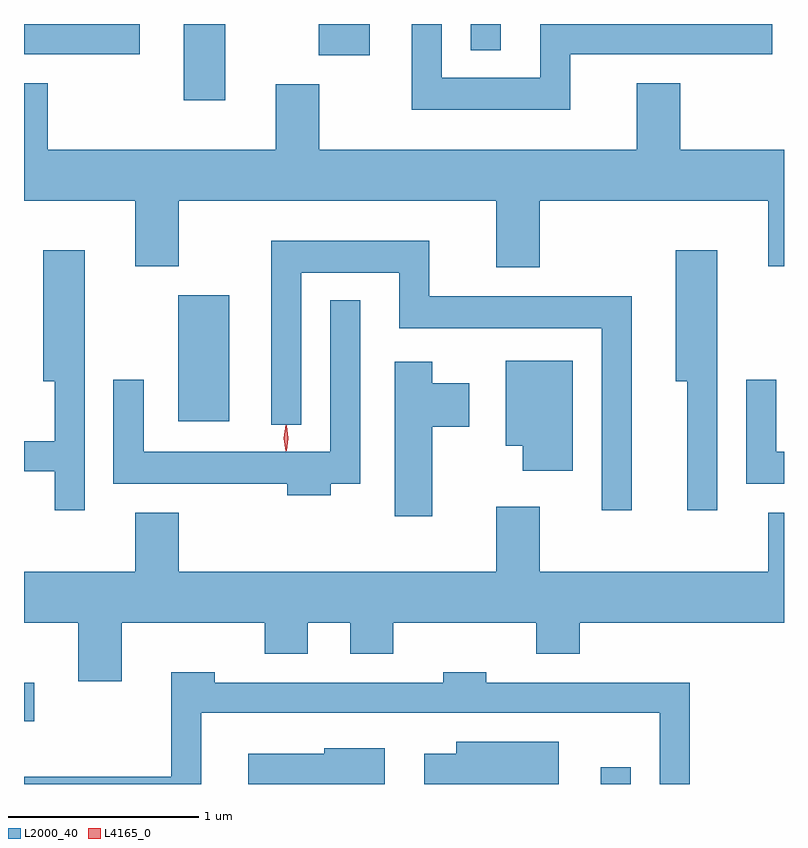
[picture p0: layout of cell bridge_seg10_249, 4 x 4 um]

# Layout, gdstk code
import gdstk
lib = gdstk.Library(unit=1e-6, precision=1e-09)
def R(c, l, rs):  # rectangles x0, y0, x1, y1
    for r in rs: c.add(gdstk.rectangle(r[:2], r[2:], *l))
def P(c, l, *ps):  # polygons
    for p in ps: c.add(gdstk.Polygon(p, *l))
L2000_40 = (2000, 40)
L4165_0 = (4165, 0)

bridge_seg10_249 = lib.new_cell('bridge_seg10_249')
R(bridge_seg10_249, L2000_40, [(1807.751,2097.526,1807.909,2097.613), (1804.715,2097.856,1804.769,2098.059), (1805.526,2099.436,1805.794,2100.099), (1805.556,2101.126,1805.774,2101.526), (1806.266,2101.361,1806.534,2101.526), (1804.715,2101.366,1805.324,2101.526), (1807.066,2101.388,1807.224,2101.526)])
P(bridge_seg10_249, L2000_40, [(1807.589,2101.366),(1808.654,2101.366),(1808.654,2101.526),(1807.431,2101.526),(1807.431,2101.244),(1806.914,2101.244),(1806.914,2101.526),(1806.756,2101.526),(1806.756,2101.076),(1807.589,2101.076)],
  [(1807.429,2100.596),(1808.631,2100.596),(1808.631,2100.251),(1808.715,2100.251),(1808.715,2100.864),(1808.169,2100.864),(1808.169,2101.214),(1807.941,2101.214),(1807.941,2100.864),(1806.269,2100.864),(1806.269,2101.209),(1806.041,2101.209),(1806.041,2100.864),(1804.839,2100.864),(1804.839,2101.214),(1804.715,2101.214),(1804.715,2100.596),(1805.301,2100.596),(1805.301,2100.251),(1805.529,2100.251),(1805.529,2100.596),(1807.201,2100.596),(1807.201,2100.246),(1807.429,2100.246)],
  [(1807.914,2100.094),(1806.849,2100.094),(1806.849,2100.384),(1806.016,2100.384),(1806.016,2099.418),(1806.174,2099.418),(1806.174,2100.216),(1806.691,2100.216),(1806.691,2099.926),(1807.756,2099.926),(1807.756,2098.968),(1807.914,2098.968)],
  [(1808.364,2100.334),(1808.146,2100.334),(1808.146,2099.646),(1808.206,2099.646),(1808.206,2098.968),(1808.364,2098.968)],
  [(1805.034,2100.334),(1804.816,2100.334),(1804.816,2099.646),(1804.876,2099.646),(1804.876,2099.329),(1804.715,2099.329),(1804.715,2099.171),(1804.876,2099.171),(1804.876,2098.968),(1805.034,2098.968)],
  [(1806.329,2099.106),(1806.484,2099.106),(1806.484,2100.073),(1806.326,2100.073),(1806.326,2099.274),(1805.344,2099.274),(1805.344,2099.653),(1805.186,2099.653),(1805.186,2099.106),(1806.101,2099.106),(1806.101,2099.046),(1806.329,2099.046)],
  [(1807.604,2099.754),(1807.251,2099.754),(1807.251,2099.306),(1807.341,2099.306),(1807.341,2099.176),(1807.604,2099.176)],
  [(1806.864,2099.406),(1807.059,2099.406),(1807.059,2099.634),(1806.864,2099.634),(1806.864,2099.749),(1806.666,2099.749),(1806.666,2098.936),(1806.864,2098.936)],
  [(1808.715,2099.274),(1808.674,2099.274),(1808.674,2099.653),(1808.516,2099.653),(1808.516,2099.106),(1808.715,2099.106)],
  [(1805.229,2098.376),(1805.981,2098.376),(1805.981,2098.211),(1806.209,2098.211),(1806.209,2098.376),(1806.431,2098.376),(1806.431,2098.211),(1806.659,2098.211),(1806.659,2098.376),(1807.411,2098.376),(1807.411,2098.211),(1807.639,2098.211),(1807.639,2098.376),(1808.715,2098.376),(1808.715,2098.954),(1808.631,2098.954),(1808.631,2098.644),(1807.429,2098.644),(1807.429,2098.984),(1807.201,2098.984),(1807.201,2098.644),(1805.529,2098.644),(1805.529,2098.954),(1805.301,2098.954),(1805.301,2098.644),(1804.715,2098.644),(1804.715,2098.376),(1805.001,2098.376),(1805.001,2098.066),(1805.229,2098.066)],
  [(1805.649,2097.901),(1808.061,2097.901),(1808.061,2097.526),(1808.219,2097.526),(1808.219,2098.059),(1807.149,2098.059),(1807.149,2098.114),(1806.921,2098.114),(1806.921,2098.059),(1805.719,2098.059),(1805.719,2098.114),(1805.491,2098.114),(1805.491,2097.564),(1804.715,2097.564),(1804.715,2097.526),(1805.649,2097.526)],
  [(1807.529,2097.749),(1806.991,2097.749),(1806.991,2097.684),(1806.821,2097.684),(1806.821,2097.526),(1807.529,2097.526)],
  [(1806.614,2097.714),(1806.296,2097.714),(1806.296,2097.684),(1805.896,2097.684),(1805.896,2097.526),(1806.614,2097.526)])
P(bridge_seg10_249, L4165_0, [(1806.097,2099.279),(1806.096,2099.28),(1806.087,2099.346),(1806.096,2099.412),(1806.097,2099.413),(1806.097,2099.412),(1806.107,2099.346),(1806.097,2099.28)],
  [(1806.092,2099.277),(1806.092,2099.278),(1806.082,2099.347),(1806.092,2099.416),(1806.092,2099.416),(1806.093,2099.416),(1806.102,2099.347),(1806.093,2099.278)])

lib.write_gds('bridge_seg10_249.gds')
